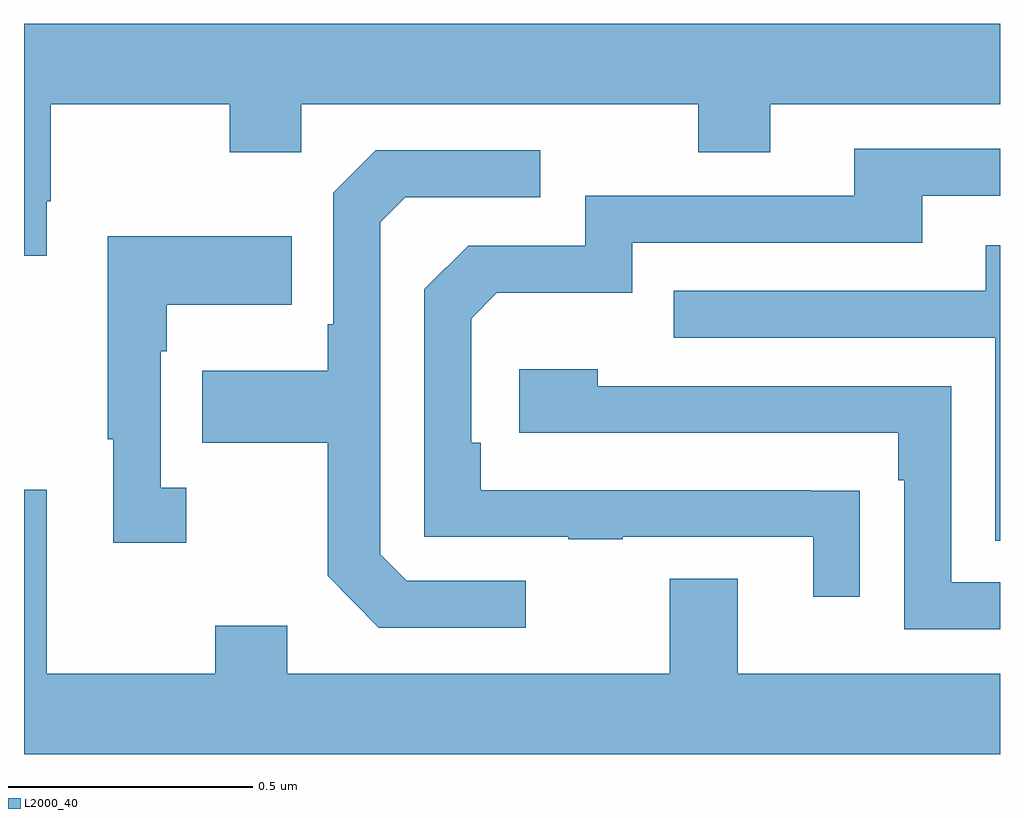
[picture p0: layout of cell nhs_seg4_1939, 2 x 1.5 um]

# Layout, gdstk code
import gdstk
lib = gdstk.Library(unit=1e-6, precision=1e-09)
def P(c, l, *ps):  # polygons
    for p in ps: c.add(gdstk.Polygon(p, *l))
L2000_40 = (2000, 40)

nhs_seg4_1939 = lib.new_cell('nhs_seg4_1939')
P(nhs_seg4_1939, L2000_40, [(134.047,811.273),(134.055,811.273),(134.055,811.472),(134.422,811.472),(134.422,811.373),(134.568,811.373),(134.568,811.472),(135.382,811.472),(135.382,811.373),(135.529,811.373),(135.529,811.472),(136,811.472),(136,811.636),(134,811.636),(134,811.161),(134.047,811.161)],
  [(135.713,810.68),(135.611,810.68),(135.611,810.681),(134.936,810.681),(134.936,810.778),(134.916,810.778),(134.916,811.032),(134.969,811.085),(135.246,811.085),(135.246,811.188),(135.841,811.188),(135.841,811.284),(136,811.284),(136,811.38),(135.701,811.38),(135.701,811.284),(135.15,811.284),(135.15,811.182),(134.91,811.182),(134.82,811.092),(134.82,810.585),(135.115,810.585),(135.115,810.58),(135.227,810.58),(135.227,810.585),(135.617,810.585),(135.617,810.462),(135.713,810.462)],
  [(135.028,810.495),(134.784,810.495),(134.73,810.549),(134.73,811.23),(134.781,811.281),(135.058,811.281),(135.058,811.377),(134.721,811.377),(134.634,811.29),(134.634,811.021),(134.622,811.021),(134.622,810.925),(134.365,810.925),(134.365,810.778),(134.622,810.778),(134.622,810.505),(134.727,810.399),(135.028,810.399)],
  [(134.332,810.686),(134.28,810.686),(134.28,810.965),(134.293,810.965),(134.293,811.061),(134.549,811.061),(134.549,811.201),(134.172,811.201),(134.172,810.785),(134.183,810.785),(134.183,810.573),(134.332,810.573)],
  [(136,811.183),(135.971,811.183),(135.971,811.089),(135.331,811.089),(135.331,810.993),(135.99,810.993),(135.99,810.577),(136,810.577)],
  [(136,810.492),(135.9,810.492),(135.9,810.894),(135.176,810.894),(135.176,810.928),(135.015,810.928),(135.015,810.798),(135.791,810.798),(135.791,810.701),(135.804,810.701),(135.804,810.396),(136,810.396)],
  [(136,810.304),(135.463,810.304),(135.463,810.499),(135.323,810.499),(135.323,810.304),(134.539,810.304),(134.539,810.403),(134.392,810.403),(134.392,810.304),(134.047,810.304),(134.047,810.682),(134,810.682),(134,810.14),(136,810.14)])

lib.write_gds('nhs_seg4_1939.gds')
